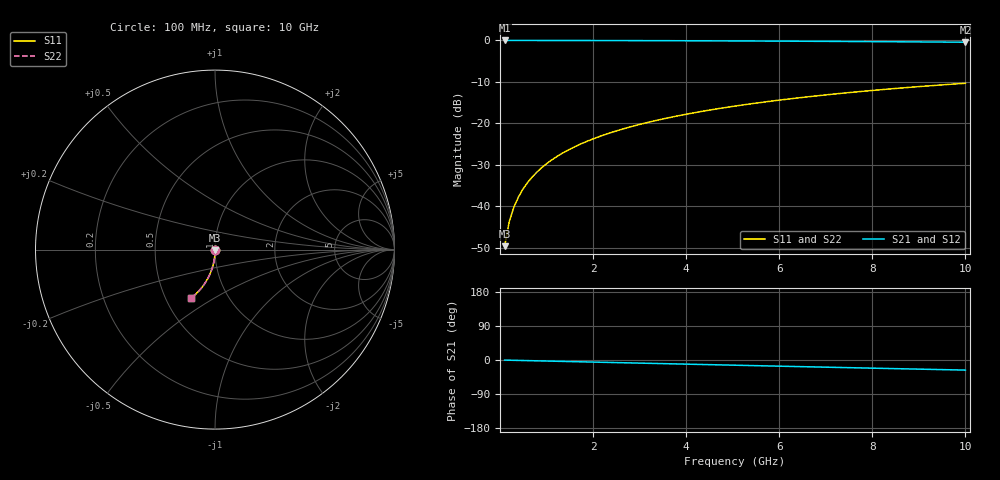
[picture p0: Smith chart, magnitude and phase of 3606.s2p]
# Hz S RI R 50.00
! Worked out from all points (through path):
!   100 points, 100 MHz to 10 GHz, reference 50 ohm
!   highest |S21| = 0.00 dB at 100 MHz (marker M1); lowest = -0.4 dB at 10 GHz (marker M2)
!   group delay of S21, straight-line fit = 7.42 ps
!   lowest |S11| = -49.7 dB at 100 MHz (marker M3), VSWR 1.01, Z = 50 - j0.325 ohm
!   |S11| at or under -10 dB: start of sweep to end of sweep
!   |S22| runs from -49.7 to -10.3 dB; largest |S21 - S12| = 0
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1e8  0.00049 -0.00325  0.9995 -0.00478  0.9995 -0.00478  0.00049 -0.00325
2e8  0.000443 -0.0065  0.9994 -0.00957  0.9994 -0.00957  0.000443 -0.0065
3e8  0.000364 -0.00974  0.9993 -0.0143  0.9993 -0.0143  0.000364 -0.00974
4e8  0.000253 -0.013  0.9992 -0.0191  0.9992 -0.0191  0.000253 -0.013
5e8  0.000111 -0.0162  0.999 -0.0239  0.999 -0.0239  0.000111 -0.0162
6e8  -6.19e-05 -0.0195  0.9989 -0.0287  0.9989 -0.0287  -6.19e-05 -0.0195
7e8  -0.000266 -0.0227  0.9986 -0.0335  0.9986 -0.0335  -0.000266 -0.0227
8e8  -0.000501 -0.026  0.9984 -0.0382  0.9984 -0.0382  -0.000501 -0.026
9e8  -0.000768 -0.0292  0.9981 -0.043  0.9981 -0.043  -0.000768 -0.0292
1.1e9  -0.00139 -0.0357  0.9974 -0.0525  0.9974 -0.0525  -0.00139 -0.0357
1.4e9  -0.00256 -0.0453  0.9961 -0.0668  0.9961 -0.0668  -0.00256 -0.0453
1.8e9  -0.00455 -0.0581  0.994 -0.0858  0.994 -0.0858  -0.00455 -0.0581
2.1e9  -0.00636 -0.0677  0.992 -0.0999  0.992 -0.0999  -0.00636 -0.0677
2.5e9  -0.00919 -0.0803  0.989 -0.1187  0.989 -0.1187  -0.00919 -0.0803
2.9e9  -0.0125 -0.0928  0.9854 -0.1373  0.9854 -0.1373  -0.0125 -0.0928
3.4e9  -0.0173 -0.1082  0.9803 -0.1604  0.9803 -0.1604  -0.0173 -0.1082
4.2e9  -0.0264 -0.1322  0.9704 -0.1967  0.9704 -0.1967  -0.0264 -0.1322
5.1e9  -0.0387 -0.1581  0.9571 -0.2365  0.9571 -0.2365  -0.0387 -0.1581
5.9e9  -0.0513 -0.18  0.9434 -0.2708  0.9434 -0.2708  -0.0513 -0.18
6.7e9  -0.0654 -0.2008  0.9281 -0.304  0.9281 -0.304  -0.0654 -0.2008
8.4e9  -0.0996 -0.2405  0.8907 -0.3701  0.8907 -0.3701  -0.0996 -0.2405
1e10  -0.1362 -0.272  0.8506 -0.4266  0.8506 -0.4266  -0.1362 -0.272
